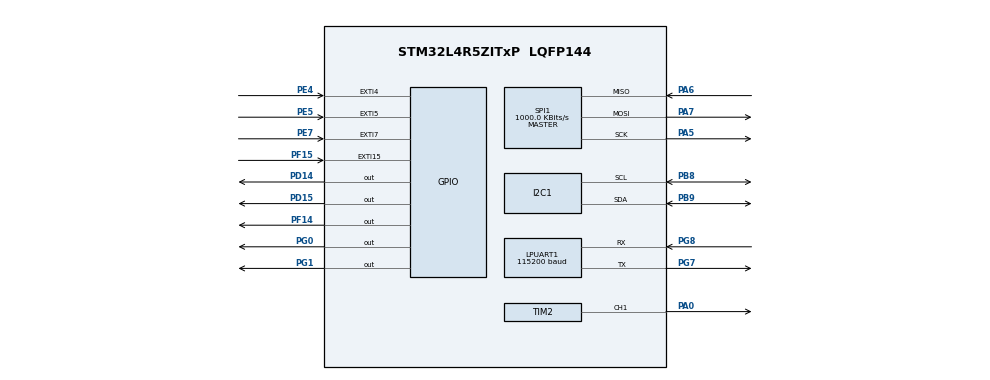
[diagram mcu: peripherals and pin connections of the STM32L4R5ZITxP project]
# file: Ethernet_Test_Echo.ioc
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I2C1.Timing=0x00100D14
LPUART1.BaudRate=115200
LPUART1.WordLength=UART_WORDLENGTH_8B
Mcu.Family=STM32L4
Mcu.Name=STM32L4R5ZITxP
Mcu.Package=LQFP144
NVIC.EXTI15_10_IRQn=true\:0\:0\:false\:false\:true\:true\:true\:true
NVIC.EXTI4_IRQn=true\:0\:0\:false\:false\:true\:true\:true\:true
NVIC.EXTI9_5_IRQn=true\:0\:0\:false\:false\:true\:true\:true\:true
NVIC.PriorityGroup=NVIC_PRIORITYGROUP_4
PA0.Signal=S_TIM2_CH1
PA1.Signal=ADCx_IN6
PA10.Signal=USB_OTG_FS_ID
PA13\ (JTMS/SWDIO).Signal=SYS_JTMS-SWDIO
PA14\ (JTCK/SWCLK).Signal=SYS_JTCK-SWCLK
PA3.Signal=ADCx_IN8
PA4.Signal=SPI1_NSS
PA5.Mode=Full_Duplex_Master
PA5.Signal=SPI1_SCK
PA6.Mode=Full_Duplex_Master
PA6.Signal=SPI1_MISO
PA7.Mode=Full_Duplex_Master
PA7.Signal=SPI1_MOSI
PA8.Signal=USB_OTG_FS_SOF
PA9.Signal=USB_OTG_FS_VBUS
PB0.Signal=S_TIM3_CH3
PB1.Signal=ADCx_IN16
PB10.Signal=S_TIM2_CH3
PB12.Signal=SAI2_FS_A
PB13.Signal=SAI2_SCK_A
PB14.Signal=S_TIM15_CH1
PB15.Signal=SAI2_SD_A
PB2.Signal=COMP1_INP
PB3\ (JTDO/TRACESWO).Signal=SPI3_SCK
PB4\ (NJTRST).Signal=SPI3_MISO
PB5.Signal=SPI3_MOSI
PB6.Signal=COMP2_INP
PB8.Mode=I2C
PB8.Signal=I2C1_SCL
PB9.Mode=I2C
PB9.Signal=I2C1_SDA
PC0.Signal=ADCx_IN1
PC1.Signal=ADCx_IN2
PC10.Signal=SDMMC1_D2
PC11.Signal=SDMMC1_D3
PC12.Signal=SDMMC1_CK
PC13.Signal=SYS_WKUP2
PC14-OSC32_IN\ (PC14).Signal=RCC_OSC32_IN
PC15-OSC32_OUT\ (PC15).Signal=RCC_OSC32_OUT
PC2.Signal=ADCx_IN3
PC3.Signal=ADCx_IN4
PC4.Signal=ADCx_IN13
PC5.Signal=ADCx_IN14
PC6.Signal=SAI2_MCLK_A
PC7.Signal=S_TIM3_CH2
PC8.Signal=SDMMC1_D0
PC9.Signal=SDMMC1_D1
PD0.Signal=CAN1_RX
PD14.GPIO_Speed=GPIO_SPEED_FREQ_HIGH
PD14.PinState=GPIO_PIN_SET
PD14.Signal=GPIO_Output
PD15.GPIO_Speed=GPIO_SPEED_FREQ_HIGH
PD15.Signal=GPIO_Output
PD2.Signal=SDMMC1_CMD
PD3.Signal=USART2_CTS
PD4.Signal=USART2_RTS
PD5.Signal=USART2_TX
PD6.Signal=USART2_RX
PD8.Signal=USART3_TX
PD9.Signal=USART3_RX
PE0.Signal=S_TIM4_ETR
PE10.Signal=TIM1_CH2N
PE11.Signal=S_TIM1_CH2
PE12.Signal=TIM1_CH3N
PE13.Signal=S_TIM1_CH3
PE14.Signal=TIM1_BKIN2
PE15.Signal=TIM1_BKIN
PE2.Signal=SAI1_MCLK_A
PE3.Signal=SAI1_SD_B
PE4.GPIO_ModeDefaultEXTI=GPIO_MODE_IT_RISING_FALLING
PE4.GPIO_PuPd=GPIO_PULLUP
PE4.Signal=GPXTI4
PE5.GPIO_PuPd=GPIO_PULLUP
PE5.Signal=GPXTI5
PE7.GPIO_ModeDefaultEXTI=GPIO_MODE_IT_FALLING
PE7.GPIO_PuPd=GPIO_PULLUP
PE7.Signal=GPXTI7
PE8.Signal=TIM1_CH1N
PE9.Signal=S_TIM1_CH1
PF0.Signal=I2C2_SDA
PF1.Signal=I2C2_SCL
PF14.PinState=GPIO_PIN_SET
PF14.Signal=GPIO_Output
PF15.GPIO_ModeDefaultEXTI=GPIO_MODE_IT_FALLING
PF15.Signal=GPXTI15
PF2.Signal=I2C2_SMBA
PF7.Signal=SAI1_MCLK_B
PG0.GPIO_ModeDefaultOutputPP=GPIO_MODE_OUTPUT_OD
PG0.GPIO_PuPd=GPIO_PULLUP
PG0.GPIO_Speed=GPIO_SPEED_FREQ_HIGH
PG0.PinState=GPIO_PIN_SET
PG0.Signal=GPIO_Output
PG1.GPIO_ModeDefaultOutputPP=GPIO_MODE_OUTPUT_OD
PG1.GPIO_PuPd=GPIO_PULLUP
PG1.GPIO_Speed=GPIO_SPEED_FREQ_HIGH
PG1.PinState=GPIO_PIN_SET
PG1.Signal=GPIO_Output
PG7.Mode=Asynchronous
PG7.Signal=LPUART1_TX
PG8.Mode=Asynchronous
PG8.Signal=LPUART1_RX
PH0-OSC_IN\ (PH0).Signal=RCC_OSC_IN
PH1-OSC_OUT\ (PH1).Signal=RCC_OSC_OUT
ProjectManager.HeapSize=0x200
ProjectManager.StackSize=0x400
ProjectManager.TargetToolchain=STM32CubeIDE
RCC.HSE_VALUE=8000000
RCC.HSI48_VALUE=48000000
RCC.HSI_VALUE=16000000
RCC.LSE_VALUE=32768
RCC.MSI_VALUE=4000000
RCC.VCOOutputFreq_Value=32000000
SH.ADCx_IN1.0=ADC1_IN1
SH.ADCx_IN13.0=ADC1_IN13
SH.ADCx_IN14.0=ADC1_IN14
SH.ADCx_IN16.0=ADC1_IN16
SH.ADCx_IN2.0=ADC1_IN2
SH.ADCx_IN3.0=ADC1_IN3
SH.ADCx_IN4.0=ADC1_IN4
SH.ADCx_IN6.0=ADC1_IN6
SH.ADCx_IN8.0=ADC1_IN8
SH.S_TIM15_CH1.0=TIM15_CH1
SH.S_TIM1_CH1.0=TIM1_CH1
SH.S_TIM1_CH2.0=TIM1_CH2
SH.S_TIM1_CH3.0=TIM1_CH3
SH.S_TIM2_CH1.0=TIM2_CH1,PWM Generation1 CH1
SH.S_TIM2_CH3.0=TIM2_CH3
SH.S_TIM3_CH2.0=TIM3_CH2
SH.S_TIM3_CH3.0=TIM3_CH3
SH.S_TIM4_ETR.0=TIM4_ETR
SPI1.BaudRatePrescaler=SPI_BAUDRATEPRESCALER_4
SPI1.CalculateBaudRate=1000.0 KBits/s
SPI1.DataSize=SPI_DATASIZE_8BIT
SPI1.Direction=SPI_DIRECTION_2LINES
SPI1.Mode=SPI_MODE_MASTER
SPI1.NSSPMode=SPI_NSS_PULSE_DISABLE
SPI1.VirtualType=VM_MASTER
TIM2.Channel-PWM\ Generation1\ CH1=TIM_CHANNEL_1
TIM2.Period=1599
TIM2.Prescaler=0
TIM2.Pulse-PWM\ Generation1\ CH1=100
VP_TIM2_VS_ClockSourceINT.Mode=Internal
board=NUCLEO-L4R5ZI-P

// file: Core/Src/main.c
/* USER CODE BEGIN Header */
/**
 ******************************************************************************
 * @file           : main.c
 * @brief          : Main program body
 ******************************************************************************
 * @attention
 *
 * Copyright (c) 2025 STMicroelectronics.
 * All rights reserved.
 *
 * This software is licensed under terms that can be found in the LICENSE file
 * in the root directory of this software component.
 * If no LICENSE file comes with this software, it is provided AS-IS.
 *
 ******************************************************************************
 */
/* USER CODE END Header */
#include "main.h"

/* USER CODE BEGIN Includes */
#include "net_w5500.h"
#include "stdio.h"
#include "stdint.h"
#include "math.h"
#include "tm1637.h"
#include "pid.h"
#include "Modulino_Knob.h"
#include "AHT21.h"

/* USER CODE END Includes */

/* USER CODE BEGIN PD */

// PE4 for encoder A
// PE5 for encoder B
#define ENC_A_PORT   GPIOE
#define ENC_A_PIN    GPIO_PIN_4
#define ENC_B_PORT   GPIOE
#define ENC_B_PIN    GPIO_PIN_5

// PE4 -> EXTI4_IRQn
// PE5 -> EXTI9_5_IRQn
#define ENC_A_IRQn   EXTI4_IRQn
#define ENC_B_IRQn   EXTI9_5_IRQn

// Counts per mechanical revolution (quadrature counts)
#define ENCODER_CPR  240.0f

#define W5500_CS_GPIO_Port   GPIOD
#define W5500_CS_Pin         GPIO_PIN_14   // your CS

#define W5500_INT_GPIO_Port  GPIOF
#define W5500_INT_Pin        GPIO_PIN_15

#define W5500_RST_GPIO_Port   GPIOD
#define W5500_RST_Pin         GPIO_PIN_15

#define W5500_COMMON_BLOCK   0x00  // BSB for common regs
#define W5500_OM_VDM         0x00  // variable data length mode
#define W5500_RWB_READ       0x01  // <-- note: this bit position depends on datasheet bitfield; see note below

#define SELECTION_TIMEOUT	3000

#define AVG_WINDOW 3

static inline void W5500_Select(void) {
	HAL_GPIO_WritePin(W5500_CS_GPIO_Port, W5500_CS_Pin, GPIO_PIN_RESET);
}
static inline void W5500_Deselect(void) {
	HAL_GPIO_WritePin(W5500_CS_GPIO_Port, W5500_CS_Pin, GPIO_PIN_SET);
}

/* USER CODE END PD */

I2C_HandleTypeDef hi2c1;

UART_HandleTypeDef hlpuart1;

SPI_HandleTypeDef hspi1;

TIM_HandleTypeDef htim2;

/* USER CODE BEGIN PV */

enum states {
	IDLE = 0, SELECTING
};
tm1637_t tm1637_display;
int STATE;

// PID variables - MUST be double type!
PID_TypeDef TPID;
uint16_t knobReading;
double setpoint = 0.0;      // Changed from float to double
double current_rpm = 0.0;    // Changed from float to double
double rpm[AVG_WINDOW];
double pid_output = 0.0;     // Changed from float to double
uint32_t pwm_out;

// PID tuning parameters
double Kp = 5.0;
double Ki = 10.0;
double Kd = 0.02;
double Kt = 2.5; // custom parameter to account for rpm adjusting with duty cycle

// Encoder states
static volatile uint32_t enc_count = 0;
static volatile uint32_t enc_count_fetched = 0;

const uint32_t MIN_READ_MS = 50;			  // 10ms minimum to record steps
static volatile uint32_t last_read_ms = 0;
static volatile uint32_t dt_ms = 0;

int last_connected = 0;
uint32_t click_time = 0;

/* USER CODE END PV */

void SystemClock_Config(void);
static void MX_GPIO_Init(void);
static void MX_SPI1_Init(void);
static void MX_LPUART1_UART_Init(void);
static void MX_I2C1_Init(void);
static void MX_TIM2_Init(void);

/* USER CODE BEGIN 0 */

// 1-byte SPI xfer helper
static uint8_t spi_txrx1(uint8_t v) {
	uint8_t rx;
	HAL_SPI_TransmitReceive(&hspi1, &v, &rx, 1, HAL_MAX_DELAY);
	return rx;
}

uint8_t W5500_ReadVersion(void) {
	uint8_t ver;
	W5500_Select();
	spi_txrx1(0x00); // Address High (VERSIONR = 0x0039)
	spi_txrx1(0x39); // Address Low
	spi_txrx1(0x00); // Control: Common Block, Read, VDM Mode
	ver = spi_txrx1(0x00); // Dummy byte to clock in the data
	W5500_Deselect();
	return ver;
}

int _write(int file, char *ptr, int len) {
	(void) file;
	HAL_UART_Transmit(&hlpuart1, (uint8_t*) ptr, len, HAL_MAX_DELAY);
	return len;
}

int __io_putchar(int ch) {
	HAL_UART_Transmit(&hlpuart1, (uint8_t*) &ch, 1, 10);
	return ch;
}

// set duty in %
static void motor_set_duty(double pct) {
    if (pct < 0) pct = 0;
    else if (pct > 100) pct = 100;
    __HAL_TIM_SET_COMPARE(&htim2, TIM_CHANNEL_1, (uint32_t)(pct * 15.99f)); // 1599/100
}

void TM1637_Init(void) {
	// Initialize TM1637 display
	tm1637_display.gpio_clk = GPIOG;
	tm1637_display.pin_clk = GPIO_PIN_0;
	tm1637_display.gpio_dat = GPIOG;
	tm1637_display.pin_dat = GPIO_PIN_1;
	tm1637_display.seg_cnt = 4;  // 4-digit display

	tm1637_err_t result = tm1637_init(&tm1637_display);
	if (result == TM1637_ERR_NONE) {
		printf("TM1637 Init SUCCESS!\r\n");

		tm1637_brightness(&tm1637_display, 8);  // Max brightness (0-8)
		printf("Brightness set to 8\r\n");

		tm1637_clear(&tm1637_display);
		printf("Display cleared\r\n");

		// Test display - show "----" for 1 second
		result = tm1637_printf(&tm1637_display, "----");
		printf("Display ---- result: %d\r\n", result);
		HAL_Delay(1000);

		tm1637_clear(&tm1637_display);
		printf("Display cleared again\r\n");
	} else {
		printf("TM1637 Init FAILED! Error: %d\r\n", result);
	}

}

void PID_Start(void) {
	// Start PWM on TIM2 Channel 1
	HAL_TIM_PWM_Start(&htim2, TIM_CHANNEL_1);

	// Initialize with 0% duty cycle (off)
	__HAL_TIM_SET_COMPARE(&htim2, TIM_CHANNEL_1, 0);

	// Initialize PID controller
	// PID2(PID_TypeDef *uPID, double *Input, double *Output, double *Setpoint,
	//      double Kp, double Ki, double Kd, PIDCD_TypeDef ControllerDirection)
	PID2(&TPID, &current_rpm, &pid_output, &setpoint, Kp, Ki, Kd,
			_PID_CD_DIRECT);

	// Set PID output limits to match your PWM range
	PID_SetOutputLimits(&TPID, -500, 500);

	// Set sample time to 10ms (matches delay)
	PID_SetSampleTime(&TPID, 10);

	// Set PID mode to automatic
	PID_SetMode(&TPID, _PID_MODE_AUTOMATIC);

	printf("PID Motor Control Started\r\n");
	printf("Setpoint: %.1f rpm\r\n", setpoint);
	printf("Kp=%.2f, Ki=%.2f, Kd=%.2f\r\n", Kp, Ki, Kd);
}

void updatePWM(void) {

	// Read current rpm from encoder
	if (HAL_GetTick() - last_read_ms < MIN_READ_MS) return; // only read after 10ms

	enc_count_fetched = enc_count;
	uint32_t now = HAL_GetTick();
	enc_count = 0;
	dt_ms = now - last_read_ms;
	last_read_ms = now;

	for (int i = 0; i < AVG_WINDOW - 1; i++){
		rpm[i] = rpm[i + 1];
	}

	rpm[AVG_WINDOW - 1] = (60.0f * 1000 * enc_count_fetched) / (dt_ms*ENCODER_CPR);				 // revs per minute

	current_rpm = 0;

	for (int i = 0; i < AVG_WINDOW; i++){
			current_rpm += rpm[i];
		}

	current_rpm /= AVG_WINDOW;

	// Compute PID output (returns 1 if computed, 0 if waiting for sample time)
	if (PID_Compute(&TPID)) {

		pwm_out = (uint32_t) (pid_output + Kt * setpoint);
		if (setpoint == 0){
			pwm_out = 0;
		}

		// Apply PID output to PWM
		motor_set_duty(pwm_out / 10);	// convert to duty cycle %

		// Update TM1637 display with current temperature (every 500ms when PID computes)
		if (STATE != SELECTING){
			char rpm_str[5];
			snprintf(rpm_str, sizeof(rpm_str), "%4.1f", current_rpm);
			tm1637_printf(&tm1637_display, rpm_str);
		}

		// Print debug information
		printf("RPM: %.2f | SP: %.1f | PWM: %d/1000 | Err: %.2f\r\n",
				current_rpm, setpoint, pwm_out, (setpoint - current_rpm));

		char buf[64];
		snprintf(buf, sizeof buf, "RPM: %.2f | SP: %.1f | STATE: %d \n\r",
				current_rpm, setpoint, STATE);
		net_send_str(buf);
	}

}

void HAL_GPIO_EXTI_Callback(uint16_t GPIO_Pin) {

	if (GPIO_Pin = ENC_B_PIN){
		enc_count += 1;
		return;
	}

	if (GPIO_Pin == GPIO_PIN_7) // use PE7 for pushbutton
	{
		if (STATE == IDLE) {
			Knob_Set_Position((uint16_t) setpoint);
			click_time = HAL_GetTick();
			STATE = SELECTING;
		} else if (STATE == SELECTING) {
			setpoint = knobReading;
			STATE = IDLE;
		}
	}

}

void network_handler(void) {
	// keep the socket serviced
	net_poll();

	// verify connection status
	int connected = net_is_connected();

	// Send a one-time greeting right after a client connects
	if (connected && !last_connected) {
		printf("Connected!\n\r");
		net_send_str("DeviceType: CENTRIFUGE \n\r");
	}

	char line[256];
	int n = net_recv_line(line, sizeof line, 0);  // non-blocking
	if (n > 0) {
		int newrpm;
		int result = sscanf(line, "%d", &newrpm);
		if (result > 0 &&  newrpm <= 300 && newrpm >= 0 && STATE != SELECTING){
			setpoint = (double)newrpm;
			net_send_str("ACK: ");
			net_send_str(line);
			net_send_str("\n\r");
		} else {
			net_send_str("NACK");
			net_send_str("\n\r");
		}

		printf("New RPM: %.1f \n\r", setpoint);

	}

	last_connected = connected;
}
/* USER CODE END 0 */

int main(void)
{

  /* MCU Configuration--------------------------------------------------------*/

  /* Reset of all peripherals, Initializes the Flash interface and the Systick. */
  HAL_Init();

  /* Configure the system clock */
  SystemClock_Config();

  /* Initialize all configured peripherals */
  MX_GPIO_Init();
  MX_SPI1_Init();
  MX_LPUART1_UART_Init();
  MX_I2C1_Init();
  MX_TIM2_Init();
  /* USER CODE BEGIN 2 */

	STATE = IDLE;

	Knob_Set_Position((uint16_t) setpoint);

	TM1637_Init();

	PID_Start();

	ethernet_start();                   // DHCP → static fallback
	net_start_server(NET_SERVER_PORT);  // default 5000

	printf("nc -v <ip> %u\r\n", NET_SERVER_PORT);
	printf("nc -v <ip> 5000   (type lines, press Enter)\r\n");

  /* USER CODE END 2 */

  /* Infinite loop */
  /* USER CODE BEGIN WHILE */
	while (1) {
		switch (STATE) {
		case IDLE:
			updatePWM();
			network_handler();
			break;

		case SELECTING:
			knobReading = Knob_Read_Position();
			char display_str[5];
			snprintf(display_str, sizeof(display_str), "%d", knobReading);
			tm1637_printf(&tm1637_display, display_str);
			updatePWM();
			network_handler();

			if (HAL_GetTick() - click_time > SELECTION_TIMEOUT) {
				setpoint = knobReading;
				STATE = IDLE;
			}
			break;

		default:
			STATE = IDLE;

		}
    /* USER CODE END WHILE */

	}
}

void SystemClock_Config(void)
{
  RCC_OscInitTypeDef RCC_OscInitStruct = {0};
  RCC_ClkInitTypeDef RCC_ClkInitStruct = {0};

  /** Configure the main internal regulator output voltage
  */
  if (HAL_PWREx_ControlVoltageScaling(PWR_REGULATOR_VOLTAGE_SCALE1) != HAL_OK)
  {
    Error_Handler();
  }

  /** Initializes the RCC Oscillators according to the specified parameters
  * in the RCC_OscInitTypeDef structure.
  */
  RCC_OscInitStruct.OscillatorType = RCC_OSCILLATORTYPE_MSI;
  RCC_OscInitStruct.MSIState = RCC_MSI_ON;
  RCC_OscInitStruct.MSICalibrationValue = 0;
  RCC_OscInitStruct.MSIClockRange = RCC_MSIRANGE_6;
  RCC_OscInitStruct.PLL.PLLState = RCC_PLL_NONE;
  if (HAL_RCC_OscConfig(&RCC_OscInitStruct) != HAL_OK)
  {
    Error_Handler();
  }

  /** Initializes the CPU, AHB and APB buses clocks
  */
  RCC_ClkInitStruct.ClockType = RCC_CLOCKTYPE_HCLK|RCC_CLOCKTYPE_SYSCLK
                              |RCC_CLOCKTYPE_PCLK1|RCC_CLOCKTYPE_PCLK2;
  RCC_ClkInitStruct.SYSCLKSource = RCC_SYSCLKSOURCE_MSI;
  RCC_ClkInitStruct.AHBCLKDivider = RCC_SYSCLK_DIV1;
  RCC_ClkInitStruct.APB1CLKDivider = RCC_HCLK_DIV1;
  RCC_ClkInitStruct.APB2CLKDivider = RCC_HCLK_DIV1;

  if (HAL_RCC_ClockConfig(&RCC_ClkInitStruct, FLASH_LATENCY_0) != HAL_OK)
  {
    Error_Handler();
  }
}

static void MX_I2C1_Init(void)
{

  hi2c1.Instance = I2C1;
  hi2c1.Init.Timing = 0x00100D14;
  hi2c1.Init.OwnAddress1 = 0;
  hi2c1.Init.AddressingMode = I2C_ADDRESSINGMODE_7BIT;
  hi2c1.Init.DualAddressMode = I2C_DUALADDRESS_DISABLE;
  hi2c1.Init.OwnAddress2 = 0;
  hi2c1.Init.OwnAddress2Masks = I2C_OA2_NOMASK;
  hi2c1.Init.GeneralCallMode = I2C_GENERALCALL_DISABLE;
  hi2c1.Init.NoStretchMode = I2C_NOSTRETCH_DISABLE;
  if (HAL_I2C_Init(&hi2c1) != HAL_OK)
  {
    Error_Handler();
  }

  /** Configure Analogue filter
  */
  if (HAL_I2CEx_ConfigAnalogFilter(&hi2c1, I2C_ANALOGFILTER_ENABLE) != HAL_OK)
  {
    Error_Handler();
  }

  /** Configure Digital filter
  */
  if (HAL_I2CEx_ConfigDigitalFilter(&hi2c1, 0) != HAL_OK)
  {
    Error_Handler();
  }

}

static void MX_LPUART1_UART_Init(void)
{

  hlpuart1.Instance = LPUART1;
  hlpuart1.Init.BaudRate = 115200;
  hlpuart1.Init.WordLength = UART_WORDLENGTH_8B;
  hlpuart1.Init.StopBits = UART_STOPBITS_1;
  hlpuart1.Init.Parity = UART_PARITY_NONE;
  hlpuart1.Init.Mode = UART_MODE_TX_RX;
  hlpuart1.Init.HwFlowCtl = UART_HWCONTROL_NONE;
  hlpuart1.Init.OneBitSampling = UART_ONE_BIT_SAMPLE_DISABLE;
  hlpuart1.Init.ClockPrescaler = UART_PRESCALER_DIV1;
  hlpuart1.AdvancedInit.AdvFeatureInit = UART_ADVFEATURE_NO_INIT;
  hlpuart1.FifoMode = UART_FIFOMODE_DISABLE;
  if (HAL_UART_Init(&hlpuart1) != HAL_OK)
  {
    Error_Handler();
  }
  if (HAL_UARTEx_SetTxFifoThreshold(&hlpuart1, UART_TXFIFO_THRESHOLD_1_8) != HAL_OK)
  {
    Error_Handler();
  }
  if (HAL_UARTEx_SetRxFifoThreshold(&hlpuart1, UART_RXFIFO_THRESHOLD_1_8) != HAL_OK)
  {
    Error_Handler();
  }
  if (HAL_UARTEx_DisableFifoMode(&hlpuart1) != HAL_OK)
  {
    Error_Handler();
  }

}

static void MX_SPI1_Init(void)
{

  /* SPI1 parameter configuration*/
  hspi1.Instance = SPI1;
  hspi1.Init.Mode = SPI_MODE_MASTER;
  hspi1.Init.Direction = SPI_DIRECTION_2LINES;
  hspi1.Init.DataSize = SPI_DATASIZE_8BIT;
  hspi1.Init.CLKPolarity = SPI_POLARITY_LOW;
  hspi1.Init.CLKPhase = SPI_PHASE_1EDGE;
  hspi1.Init.NSS = SPI_NSS_SOFT;
  hspi1.Init.BaudRatePrescaler = SPI_BAUDRATEPRESCALER_4;
  hspi1.Init.FirstBit = SPI_FIRSTBIT_MSB;
  hspi1.Init.TIMode = SPI_TIMODE_DISABLE;
  hspi1.Init.CRCCalculation = SPI_CRCCALCULATION_DISABLE;
  hspi1.Init.CRCPolynomial = 7;
  hspi1.Init.CRCLength = SPI_CRC_LENGTH_DATASIZE;
  hspi1.Init.NSSPMode = SPI_NSS_PULSE_DISABLE;
  if (HAL_SPI_Init(&hspi1) != HAL_OK)
  {
    Error_Handler();
  }

}

static void MX_TIM2_Init(void)
{

  TIM_ClockConfigTypeDef sClockSourceConfig = {0};
  TIM_MasterConfigTypeDef sMasterConfig = {0};
  TIM_OC_InitTypeDef sConfigOC = {0};

  htim2.Instance = TIM2;
  htim2.Init.Prescaler = 0;
  htim2.Init.CounterMode = TIM_COUNTERMODE_UP;
  htim2.Init.Period = 1599;
  htim2.Init.ClockDivision = TIM_CLOCKDIVISION_DIV1;
  htim2.Init.AutoReloadPreload = TIM_AUTORELOAD_PRELOAD_DISABLE;
  if (HAL_TIM_Base_Init(&htim2) != HAL_OK)
  {
    Error_Handler();
  }
  sClockSourceConfig.ClockSource = TIM_CLOCKSOURCE_INTERNAL;
  if (HAL_TIM_ConfigClockSource(&htim2, &sClockSourceConfig) != HAL_OK)
  {
    Error_Handler();
  }
  if (HAL_TIM_PWM_Init(&htim2) != HAL_OK)
  {
    Error_Handler();
  }
  sMasterConfig.MasterOutputTrigger = TIM_TRGO_RESET;
  sMasterConfig.MasterSlaveMode = TIM_MASTERSLAVEMODE_DISABLE;
  if (HAL_TIMEx_MasterConfigSynchronization(&htim2, &sMasterConfig) != HAL_OK)
  {
    Error_Handler();
  }
  sConfigOC.OCMode = TIM_OCMODE_PWM1;
  sConfigOC.Pulse = 100;
  sConfigOC.OCPolarity = TIM_OCPOLARITY_HIGH;
  sConfigOC.OCFastMode = TIM_OCFAST_DISABLE;
  if (HAL_TIM_PWM_ConfigChannel(&htim2, &sConfigOC, TIM_CHANNEL_1) != HAL_OK)
  {
    Error_Handler();
  }
  HAL_TIM_MspPostInit(&htim2);

}

static void MX_GPIO_Init(void)
{
  GPIO_InitTypeDef GPIO_InitStruct = {0};

  /* GPIO Ports Clock Enable */
  __HAL_RCC_GPIOE_CLK_ENABLE();
  __HAL_RCC_GPIOC_CLK_ENABLE();
  __HAL_RCC_GPIOF_CLK_ENABLE();
  __HAL_RCC_GPIOH_CLK_ENABLE();
  __HAL_RCC_GPIOA_CLK_ENABLE();
  __HAL_RCC_GPIOB_CLK_ENABLE();
  __HAL_RCC_GPIOG_CLK_ENABLE();
  __HAL_RCC_GPIOD_CLK_ENABLE();
  HAL_PWREx_EnableVddIO2();

  /*Configure GPIO pin Output Level */
  HAL_GPIO_WritePin(GPIOF, GPIO_PIN_14, GPIO_PIN_SET);

  /*Configure GPIO pin Output Level */
  HAL_GPIO_WritePin(GPIOG, GPIO_PIN_0|GPIO_PIN_1, GPIO_PIN_SET);

  /*Configure GPIO pin Output Level */
  HAL_GPIO_WritePin(GPIOD, GPIO_PIN_14, GPIO_PIN_SET);

  /*Configure GPIO pin Output Level */
  HAL_GPIO_WritePin(GPIOD, GPIO_PIN_15, GPIO_PIN_RESET);

  /*Configure GPIO pins : PE2 PE3 */
  GPIO_InitStruct.Pin = GPIO_PIN_2|GPIO_PIN_3;
  GPIO_InitStruct.Mode = GPIO_MODE_AF_PP;
  GPIO_InitStruct.Pull = GPIO_NOPULL;
  GPIO_InitStruct.Speed = GPIO_SPEED_FREQ_LOW;
  GPIO_InitStruct.Alternate = GPIO_AF13_SAI1;
  HAL_GPIO_Init(GPIOE, &GPIO_InitStruct);

  /*Configure GPIO pin : PE4 */
  GPIO_InitStruct.Pin = GPIO_PIN_4;
  GPIO_InitStruct.Mode = GPIO_MODE_IT_RISING_FALLING;
  GPIO_InitStruct.Pull = GPIO_PULLUP;
  HAL_GPIO_Init(GPIOE, &GPIO_InitStruct);

  /*Configure GPIO pin : PE5 */
  GPIO_InitStruct.Pin = GPIO_PIN_5;
  GPIO_InitStruct.Mode = GPIO_MODE_IT_RISING;
  GPIO_InitStruct.Pull = GPIO_PULLUP;
  HAL_GPIO_Init(GPIOE, &GPIO_InitStruct);

  /*Configure GPIO pins : PF0 PF1 PF2 */
  GPIO_InitStruct.Pin = GPIO_PIN_0|GPIO_PIN_1|GPIO_PIN_2;
  GPIO_InitStruct.Mode = GPIO_MODE_AF_OD;
  GPIO_InitStruct.Pull = GPIO_NOPULL;
  GPIO_InitStruct.Speed = GPIO_SPEED_FREQ_VERY_HIGH;
  GPIO_InitStruct.Alternate = GPIO_AF4_I2C2;
  HAL_GPIO_Init(GPIOF, &GPIO_InitStruct);

  /*Configure GPIO pin : PF7 */
  GPIO_InitStruct.Pin = GPIO_PIN_7;
  GPIO_InitStruct.Mode = GPIO_MODE_AF_PP;
  GPIO_InitStruct.Pull = GPIO_NOPULL;
  GPIO_InitStruct.Speed = GPIO_SPEED_FREQ_LOW;
  GPIO_InitStruct.Alternate = GPIO_AF13_SAI1;
  HAL_GPIO_Init(GPIOF, &GPIO_InitStruct);

  /*Configure GPIO pins : PC0 PC1 PC2 PC3
                           PC4 PC5 */
  GPIO_InitStruct.Pin = GPIO_PIN_0|GPIO_PIN_1|GPIO_PIN_2|GPIO_PIN_3
                          |GPIO_PIN_4|GPIO_PIN_5;
  GPIO_InitStruct.Mode = GPIO_MODE_ANALOG_ADC_CONTROL;
  GPIO_InitStruct.Pull = GPIO_NOPULL;
  HAL_GPIO_Init(GPIOC, &GPIO_InitStruct);

  /*Configure GPIO pins : PA1 PA3 */
  GPIO_InitStruct.Pin = GPIO_PIN_1|GPIO_PIN_3;
  GPIO_InitStruct.Mode = GPIO_MODE_ANALOG_ADC_CONTROL;
  GPIO_InitStruct.Pull = GPIO_NOPULL;
  HAL_GPIO_Init(GPIOA, &GPIO_InitStruct);

  /*Configure GPIO pin : PB0 */
  GPIO_InitStruct.Pin = GPIO_PIN_0;
  GPIO_InitStruct.Mode = GPIO_MODE_AF_PP;
  GPIO_InitStruct.Pull = GPIO_NOPULL;
  GPIO_InitStruct.Speed = GPIO_SPEED_FREQ_LOW;
  GPIO_InitStruct.Alternate = GPIO_AF2_TIM3;
  HAL_GPIO_Init(GPIOB, &GPIO_InitStruct);

  /*Configure GPIO pin : PB1 */
  GPIO_InitStruct.Pin = GPIO_PIN_1;
  GPIO_InitStruct.Mode = GPIO_MODE_ANALOG_ADC_CONTROL;
  GPIO_InitStruct.Pull = GPIO_NOPULL;
  HAL_GPIO_Init(GPIOB, &GPIO_InitStruct);

  /*Configure GPIO pins : PB2 PB6 */
  GPIO_InitStruct.Pin = GPIO_PIN_2|GPIO_PIN_6;
  GPIO_InitStruct.Mode = GPIO_MODE_ANALOG;
  GPIO_InitStruct.Pull = GPIO_NOPULL;
  HAL_GPIO_Init(GPIOB, &GPIO_InitStruct);

  /*Configure GPIO pin : PF14 */
  GPIO_InitStruct.Pin = GPIO_PIN_14;
  GPIO_InitStruct.Mode = GPIO_MODE_OUTPUT_PP;
  GPIO_InitStruct.Pull = GPIO_NOPULL;
  GPIO_InitStruct.Speed = GPIO_SPEED_FREQ_LOW;
  HAL_GPIO_Init(GPIOF, &GPIO_InitStruct);

  /*Configure GPIO pin : PF15 */
  GPIO_InitStruct.Pin = GPIO_PIN_15;
  GPIO_InitStruct.Mode = GPIO_MODE_IT_FALLING;
  GPIO_InitStruct.Pull = GPIO_NOPULL;
  HAL_GPIO_Init(GPIOF, &GPIO_InitStruct);

  /*Configure GPIO pins : PG0 PG1 */
  GPIO_InitStruct.Pin = GPIO_PIN_0|GPIO_PIN_1;
  GPIO_InitStruct.Mode = GPIO_MODE_OUTPUT_OD;
  GPIO_InitStruct.Pull = GPIO_PULLUP;
  GPIO_InitStruct.Speed = GPIO_SPEED_FREQ_HIGH;
  HAL_GPIO_Init(GPIOG, &GPIO_InitStruct);

  /*Configure GPIO pin : PE7 */
  GPIO_InitStruct.Pin = GPIO_PIN_7;
  GPIO_InitStruct.Mode = GPIO_MODE_IT_FALLING;
  GPIO_InitStruct.Pull = GPIO_PULLUP;
  HAL_GPIO_Init(GPIOE, &GPIO_InitStruct);

  /*Configure GPIO pins : PE8 PE9 PE10 PE11
                           PE12 PE13 */
  GPIO_InitStruct.Pin = GPIO_PIN_8|GPIO_PIN_9|GPIO_PIN_10|GPIO_PIN_11
                          |GPIO_PIN_12|GPIO_PIN_13;
  GPIO_InitStruct.Mode = GPIO_MODE_AF_PP;
  GPIO_InitStruct.Pull = GPIO_NOPULL;
  GPIO_InitStruct.Speed = GPIO_SPEED_FREQ_LOW;
  GPIO_InitStruct.Alternate = GPIO_AF1_TIM1;
  HAL_GPIO_Init(GPIOE, &GPIO_InitStruct);

  /*Configure GPIO pins : PE14 PE15 */
  GPIO_InitStruct.Pin = GPIO_PIN_14|GPIO_PIN_15;
  GPIO_InitStruct.Mode = GPIO_MODE_AF_PP;
  GPIO_InitStruct.Pull = GPIO_NOPULL;
  GPIO_InitStruct.Speed = GPIO_SPEED_FREQ_LOW;
  GPIO_InitStruct.Alternate = GPIO_AF3_TIM1_COMP1;
  HAL_GPIO_Init(GPIOE, &GPIO_InitStruct);

  /*Configure GPIO pins : PB12 PB13 PB15 */
  GPIO_InitStruct.Pin = GPIO_PIN_12|GPIO_PIN_13|GPIO_PIN_15;
  GPIO_InitStruct.Mode = GPIO_MODE_AF_PP;
  GPIO_InitStruct.Pull = GPIO_NOPULL;
  GPIO_InitStruct.Speed = GPIO_SPEED_FREQ_LOW;
  GPIO_InitStruct.Alternate = GPIO_AF13_SAI2;
  HAL_GPIO_Init(GPIOB, &GPIO_InitStruct);

  /*Configure GPIO pin : PB14 */
  GPIO_InitStruct.Pin = GPIO_PIN_14;
  GPIO_InitStruct.Mode = GPIO_MODE_AF_PP;
  GPIO_InitStruct.Pull = GPIO_NOPULL;
  GPIO_InitStruct.Speed = GPIO_SPEED_FREQ_LOW;
  GPIO_InitStruct.Alternate = GPIO_AF14_TIM15;
  HAL_GPIO_Init(GPIOB, &GPIO_InitStruct);

  /*Configure GPIO pins : PD8 PD9 */
  GPIO_InitStruct.Pin = GPIO_PIN_8|GPIO_PIN_9;
  GPIO_InitStruct.Mode = GPIO_MODE_AF_PP;
  GPIO_InitStruct.Pull = GPIO_NOPULL;
  GPIO_InitStruct.Speed = GPIO_SPEED_FREQ_VERY_HIGH;
  GPIO_InitStruct.Alternate = GPIO_AF7_USART3;
  HAL_GPIO_Init(GPIOD, &GPIO_InitStruct);

  /*Configure GPIO pins : PD14 PD15 */
  GPIO_InitStruct.Pin = GPIO_PIN_14|GPIO_PIN_15;
  GPIO_InitStruct.Mode = GPIO_MODE_OUTPUT_PP;
  GPIO_InitStruct.Pull = GPIO_NOPULL;
  GPIO_InitStruct.Speed = GPIO_SPEED_FREQ_HIGH;
  HAL_GPIO_Init(GPIOD, &GPIO_InitStruct);

  /*Configure GPIO pin : PC6 */
  GPIO_InitStruct.Pin = GPIO_PIN_6;
  GPIO_InitStruct.Mode = GPIO_MODE_AF_PP;
  GPIO_InitStruct.Pull = GPIO_NOPULL;
  GPIO_InitStruct.Speed = GPIO_SPEED_FREQ_LOW;
  GPIO_InitStruct.Alternate = GPIO_AF13_SAI2;
  HAL_GPIO_Init(GPIOC, &GPIO_InitStruct);

  /*Configure GPIO pin : PC7 */
  GPIO_InitStruct.Pin = GPIO_PIN_7;
  GPIO_InitStruct.Mode = GPIO_MODE_AF_PP;
  GPIO_InitStruct.Pull = GPIO_NOPULL;
  GPIO_InitStruct.Speed = GPIO_SPEED_FREQ_LOW;
  GPIO_InitStruct.Alternate = GPIO_AF2_TIM3;
  HAL_GPIO_Init(GPIOC, &GPIO_InitStruct);

  /*Configure GPIO pins : PC8 PC9 PC10 PC11
                           PC12 */
  GPIO_InitStruct.Pin = GPIO_PIN_8|GPIO_PIN_9|GPIO_PIN_10|GPIO_PIN_11
                          |GPIO_PIN_12;
  GPIO_InitStruct.Mode = GPIO_MODE_AF_PP;
  GPIO_InitStruct.Pull = GPIO_NOPULL;
  GPIO_InitStruct.Speed = GPIO_SPEED_FREQ_VERY_HIGH;
  GPIO_InitStruct.Alternate = GPIO_AF12_SDMMC1;
  HAL_GPIO_Init(GPIOC, &GPIO_InitStruct);

  /*Configure GPIO pins : PA8 PA10 */
  GPIO_InitStruct.Pin = GPIO_PIN_8|GPIO_PIN_10;
  GPIO_InitStruct.Mode = GPIO_MODE_AF_PP;
  GPIO_InitStruct.Pull = GPIO_NOPULL;
  GPIO_InitStruct.Speed = GPIO_SPEED_FREQ_VERY_HIGH;
  GPIO_InitStruct.Alternate = GPIO_AF10_OTG_FS;
  HAL_GPIO_Init(GPIOA, &GPIO_InitStruct);

  /*Configure GPIO pin : PA9 */
  GPIO_InitStruct.Pin = GPIO_PIN_9;
  GPIO_InitStruct.Mode = GPIO_MODE_INPUT;
  GPIO_InitStruct.Pull = GPIO_NOPULL;
  HAL_GPIO_Init(GPIOA, &GPIO_InitStruct);

  /*Configure GPIO pin : PD0 */
  GPIO_InitStruct.Pin = GPIO_PIN_0;
  GPIO_InitStruct.Mode = GPIO_MODE_AF_PP;
  GPIO_InitStruct.Pull = GPIO_NOPULL;
  GPIO_InitStruct.Speed = GPIO_SPEED_FREQ_VERY_HIGH;
  GPIO_InitStruct.Alternate = GPIO_AF9_CAN1;
  HAL_GPIO_Init(GPIOD, &GPIO_InitStruct);

  /*Configure GPIO pin : PD2 */
  GPIO_InitStruct.Pin = GPIO_PIN_2;
  GPIO_InitStruct.Mode = GPIO_MODE_AF_PP;
  GPIO_InitStruct.Pull = GPIO_NOPULL;
  GPIO_InitStruct.Speed = GPIO_SPEED_FREQ_VERY_HIGH;
  GPIO_InitStruct.Alternate = GPIO_AF12_SDMMC1;
  HAL_GPIO_Init(GPIOD, &GPIO_InitStruct);

  /*Configure GPIO pins : PD3 PD4 PD5 PD6 */
  GPIO_InitStruct.Pin = GPIO_PIN_3|GPIO_PIN_4|GPIO_PIN_5|GPIO_PIN_6;
  GPIO_InitStruct.Mode = GPIO_MODE_AF_PP;
  GPIO_InitStruct.Pull = GPIO_NOPULL;
  GPIO_InitStruct.Speed = GPIO_SPEED_FREQ_VERY_HIGH;
  GPIO_InitStruct.Alternate = GPIO_AF7_USART2;
  HAL_GPIO_Init(GPIOD, &GPIO_InitStruct);

  /*Configure GPIO pins : PB3 PB4 PB5 */
  GPIO_InitStruct.Pin = GPIO_PIN_3|GPIO_PIN_4|GPIO_PIN_5;
  GPIO_InitStruct.Mode = GPIO_MODE_AF_PP;
  GPIO_InitStruct.Pull = GPIO_NOPULL;
  GPIO_InitStruct.Speed = GPIO_SPEED_FREQ_VERY_HIGH;
  GPIO_InitStruct.Alternate = GPIO_AF6_SPI3;
  HAL_GPIO_Init(GPIOB, &GPIO_InitStruct);

  /*Configure GPIO pin : PE0 */
  GPIO_InitStruct.Pin = GPIO_PIN_0;
  GPIO_InitStruct.Mode = GPIO_MODE_AF_PP;
  GPIO_InitStruct.Pull = GPIO_NOPULL;
  GPIO_InitStruct.Speed = GPIO_SPEED_FREQ_LOW;
  GPIO_InitStruct.Alternate = GPIO_AF2_TIM4;
  HAL_GPIO_Init(GPIOE, &GPIO_InitStruct);

  /* EXTI interrupt init*/
  HAL_NVIC_SetPriority(EXTI4_IRQn, 0, 0);
  HAL_NVIC_EnableIRQ(EXTI4_IRQn);

  HAL_NVIC_SetPriority(EXTI9_5_IRQn, 0, 0);
  HAL_NVIC_EnableIRQ(EXTI9_5_IRQn);

  HAL_NVIC_SetPriority(EXTI15_10_IRQn, 0, 0);
  HAL_NVIC_EnableIRQ(EXTI15_10_IRQn);

  /* USER CODE BEGIN MX_GPIO_Init_2 */

	// MARK- my code
	// configure PA5/6/7 for SPI
	GPIO_InitStruct.Pin = GPIO_PIN_5 | GPIO_PIN_6 | GPIO_PIN_7;
	GPIO_InitStruct.Mode = GPIO_MODE_AF_PP;
	GPIO_InitStruct.Pull = GPIO_NOPULL;
	GPIO_InitStruct.Speed = GPIO_SPEED_FREQ_VERY_HIGH;
	GPIO_InitStruct.Alternate = GPIO_AF5_SPI1;
	HAL_GPIO_Init(GPIOA, &GPIO_InitStruct);

  /* USER CODE END MX_GPIO_Init_2 */
}

void Error_Handler(void)
{
	__disable_irq();
	while (1) {
	}
}
